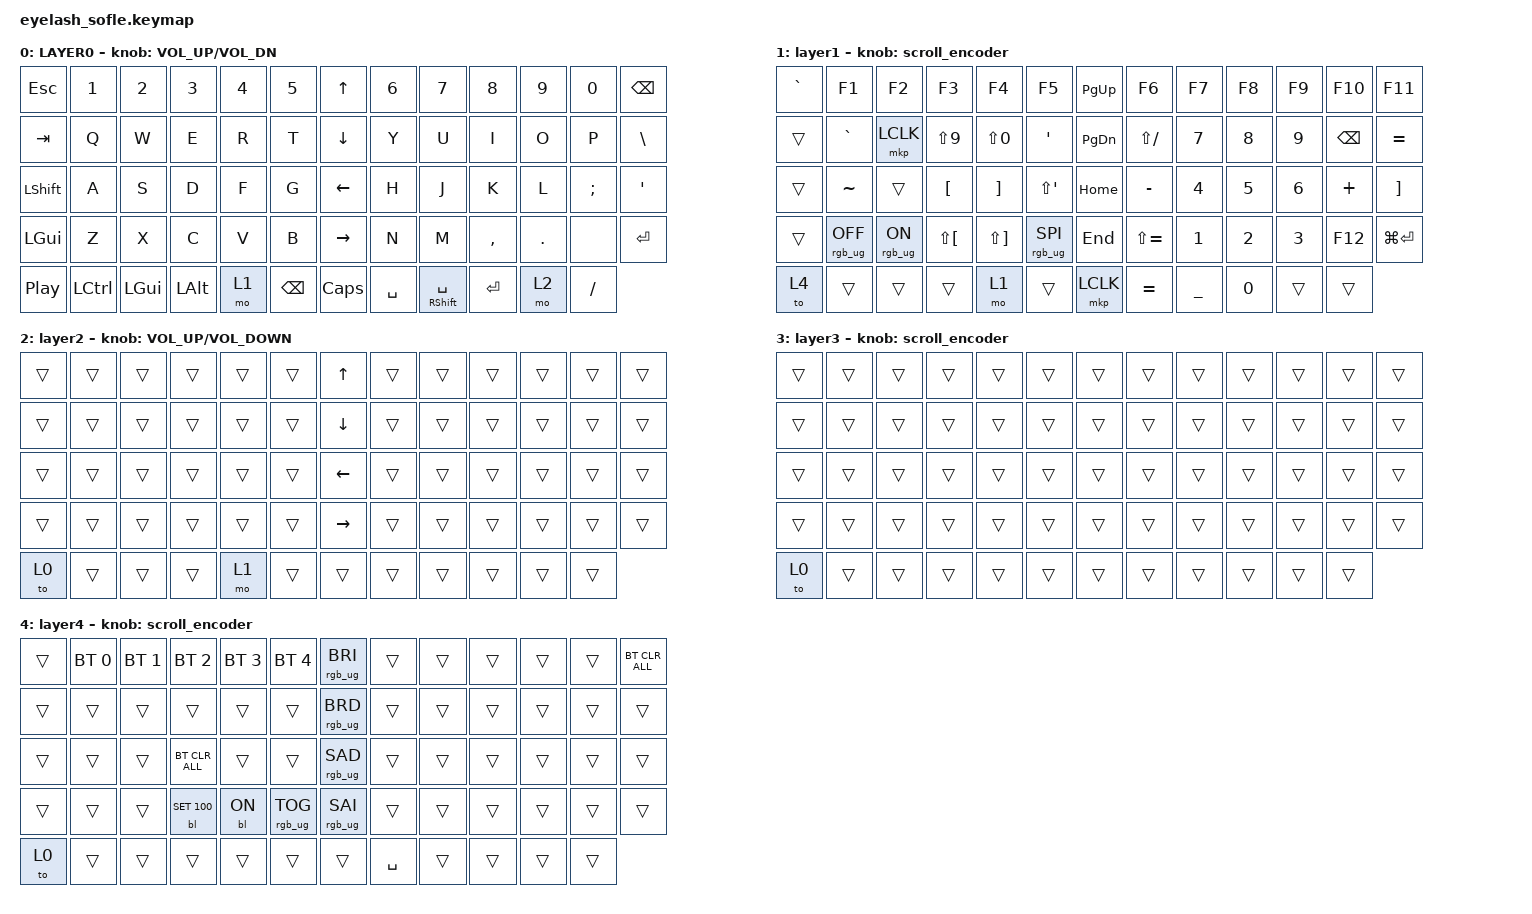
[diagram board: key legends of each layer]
#define ZMK_POINTING_DEFAULT_MOVE_VAL 1200  // 600
#define ZMK_POINTING_DEFAULT_SCRL_VAL 25   // 10

#include <input/processors.dtsi>
#include <zephyr/dt-bindings/input/input-event-codes.h>
#include <behaviors.dtsi>
#include <dt-bindings/zmk/backlight.h>
#include <dt-bindings/zmk/bt.h>
#include <dt-bindings/zmk/keys.h>
#include <dt-bindings/zmk/pointing.h>
#include <dt-bindings/zmk/rgb.h>

&mmv_input_listener { input-processors = <&zip_xy_scaler 2 1>; };

&msc_input_listener { input-processors = <&zip_scroll_scaler 2 1>; };

&msc {
    acceleration-exponent = <1>;      // 0
    time-to-max-speed-ms = <100>;       // 300
    delay-ms = <0>;                   // 0
};

&mmv {
    time-to-max-speed-ms = <500>;
    acceleration-exponent = <1>;
    trigger-period-ms = <16>;
};

&soft_off { hold-time-ms = <2000>; };

/ {
    scroll_encoder: scroll_encoder {
        compatible = "zmk,behavior-sensor-rotate";
        #sensor-binding-cells = <0>;
        bindings = <&msc SCRL_DOWN>, <&msc SCRL_UP>;

        tap-ms = <100>;
    };

    behaviors {
    };

    combos {
        compatible = "zmk,combos";

        softoff {
            bindings = <&to 4>;
            key-positions = <56 52>;
            layers = <0>;
        };

        force_sql {
            bindings = <&to 2>;
            key-positions = <62 50>;
            layers = <0>;
        };

        sql_select {
            bindings = <&SQL_SELECT_FROM>;
            key-positions = <28 16>;
            layers = <2>;
        };

        sql_over {
            bindings = <&SQL_OVER>;
            key-positions = <23 43>;
            layers = <2>;
        };

        sql_case_when {
            bindings = <&sql_case_when>;
            key-positions = <42 15>;
            layers = <2>;
        };

        sql_create {
            bindings = <&SQL_CREATE>;
            key-positions = <42 17>;
            layers = <2>;
        };

        sql_insert {
            bindings = <&SQL_INSERT>;
            key-positions = <22 46>;
            layers = <2>;
        };
    };

    macros {
        SQL_SELECT_FROM: SQL_SELECT_FROM {
            compatible = "zmk,behavior-macro";
            #binding-cells = <0>;
            bindings = <&kp LS(S) &kp LS(E) &kp LS(L) &kp LS(E) &kp LS(C) &kp LS(T) &kp SPACE &kp STAR &kp SPACE &kp RET &kp LS(F) &kp LS(R) &kp LS(O) &kp LS(M) &kp SPACE &kp T &kp A &kp B &kp L &kp E &kp RET &kp LS(W) &kp LS(H) &kp LS(E) &kp LS(R) &kp LS(E) &kp SPACE>;
            label = "SQL_SELECT_FROM";
        };

        rgb_pulse: rgb_pulse {
            compatible = "zmk,behavior-macro";
            #binding-cells = <0>;
            bindings =
                <&macro_wait_time 1000>,
                <&rgb_ug RGB_ON>,
                <&macro_wait_time 3000>,
                <&rgb_ug RGB_OFF>;

            label = "RGB_PULSE";
        };

        SQL_CREATE: SQL_CREATE {
            compatible = "zmk,behavior-macro";
            #binding-cells = <0>;
            bindings = <&kp LS(C) &kp LS(R) &kp LS(E) &kp LS(A) &kp LS(T) &kp LS(E) &kp SPACE &kp LS(T) &kp LS(A) &kp LS(B) &kp LS(L) &kp LS(E) &kp SPACE &kp LPAR &kp I &kp SPACE &kp LS(I) &kp LS(N) &kp LS(T) &kp RPAR &kp RET &kp LS(U) &kp LS(S) &kp LS(I) &kp LS(N) &kp LS(G) &kp SPACE &kp LS(D) &kp LS(E) &kp LS(L) &kp LS(T) &kp LS(A)>;
            label = "SQL_CREATE";
        };

        SQL_INSERT: SQL_INSERT {
            compatible = "zmk,behavior-macro";
            #binding-cells = <0>;
            bindings = <&kp LS(I) &kp LS(N) &kp LS(S) &kp LS(E) &kp LS(R) &kp LS(T) &kp SPACE &kp LS(I) &kp LS(N) &kp LS(T) &kp LS(O) &kp SPACE &kp T &kp SPACE &kp LPAR &kp C &kp RPAR &kp RET &kp LS(V) &kp LS(A) &kp LS(L) &kp LS(U) &kp LS(E) &kp LS(S) &kp SPACE &kp LPAR &kp SQT &kp V &kp SQT &kp RPAR>;
            label = "SQL_INSERT";
        };

        SQL_OVER: SQL_OVER {
            compatible = "zmk,behavior-macro";
            #binding-cells = <0>;
            bindings = <&kp LS(O) &kp LS(V) &kp LS(E) &kp LS(R) &kp SPACE &kp LPAR &kp LS(P) &kp LS(A) &kp LS(R) &kp LS(T) &kp LS(I) &kp LS(T) &kp LS(I) &kp LS(O) &kp LS(N) &kp SPACE &kp LS(B) &kp LS(Y) &kp SPACE &kp LS(O) &kp LS(R) &kp LS(D) &kp LS(E) &kp LS(R) &kp SPACE &kp LS(B) &kp LS(Y) &kp SPACE &kp RPAR>;
            label = "SQL_OVER";
        };

        sql_case_when: sql_case_when {
            compatible = "zmk,behavior-macro";
            #binding-cells = <0>;
            bindings = <&kp LS(C) &kp LS(A) &kp LS(S) &kp LS(E) &kp SPACE &kp RET &kp SPACE &kp LS(W) &kp LS(H) &kp LS(E) &kp LS(N) &kp SPACE &kp C &kp SPACE &kp LS(T) &kp LS(H) &kp LS(E) &kp LS(N) &kp SPACE &kp A &kp SPACE &kp RET &kp LS(E) &kp L &kp S &kp E &kp SPACE &kp B &kp SPACE &kp LS(E) &kp LS(N) &kp LS(D)>;
            label = "SQL_CASE_WHEN";
        };
    };

    on-startup {
        compatible = "zmk,on-startup";
        label = "ZMK_ON_STARTUP";
        bindings = <&rgb_pulse>;
    };

    on-wake {
        compatible = "zmk,on-wake";
        label = "ZMK_ON_WAKE";
        bindings = <&rgb_pulse>;
    };

    keymap {
        compatible = "zmk,keymap";

        BASE {
            bindings = <
&kp ESC           &kp N1     &kp N2        &kp N3        &kp N4  &kp N5           &kp UP_ARROW     &kp N6     &kp N7                 &kp N8     &kp N9   &kp N0     &kp BACKSPACE
&kp TAB           &kp Q      &kp W         &kp E         &kp R   &kp T            &kp DOWN_ARROW   &kp Y      &kp U                  &kp I      &kp O    &kp P      &kp BSLH
&kp LEFT_SHIFT    &kp A      &kp S         &kp D         &kp F   &kp G            &kp LEFT_ARROW   &kp H      &kp J                  &kp K      &kp L    &kp SEMI   &kp APOS
&kp LEFT_GUI      &kp Z      &kp X         &kp C         &kp V   &kp B            &kp RIGHT_ARROW  &kp N      &kp M                  &kp COMMA  &kp DOT  &none      &kp ENTER
&kp C_PLAY_PAUSE  &kp LCTRL  &kp LEFT_GUI  &kp LEFT_ALT  &mo 1   &kp BACKSPACE    &kp CLCK         &kp SPACE  &mt RIGHT_SHIFT SPACE  &kp ENTER  &mo 2    &kp SLASH
            >;

            sensor-bindings = <&inc_dec_kp C_VOLUME_UP C_VOL_DN>;
            display-name = "LAYER0";
        };

        KEYPAD {
            bindings = <
&kp GRAVE  &kp F1           &kp F2          &kp F3                &kp F4                 &kp F5                  &kp PG_UP      &kp F6         &kp F7          &kp F8        &kp F9        &kp F10        &kp F11
&trans     &kp GRAVE        &mkp LCLK       &kp LS(N9)            &kp LS(N0)             &kp SINGLE_QUOTE        &kp PAGE_DOWN  &kp LS(SLASH)  &kp N7          &kp N8        &kp N9        &kp BACKSPACE  &kp EQUAL
&trans     &kp TILDE        &trans          &kp LEFT_BRACKET      &kp RIGHT_BRACKET      &kp LS(SINGLE_QUOTE)    &kp HOME       &kp MINUS      &kp NUMBER_4    &kp N5        &kp NUMBER_6  &kp PLUS       &kp RIGHT_BRACKET
&trans     &rgb_ug RGB_OFF  &rgb_ug RGB_ON  &kp LS(LEFT_BRACKET)  &kp LS(RIGHT_BRACKET)  &rgb_ug RGB_SPI         &kp END        &kp LS(EQUAL)  &kp NUMBER_1    &kp NUMBER_2  &kp NUMBER_3  &kp F12        &kp LG(ENTER)
&to 4      &trans           &trans          &trans                &mo 1                  &trans                  &mkp LCLK      &kp EQUAL      &kp UNDERSCORE  &kp N0        &trans        &trans
            >;

            display-name = "layer1";
            sensor-bindings = <&scroll_encoder>;
        };

        SQL {
            bindings = <
&trans  &trans  &trans  &trans  &trans  &trans    &kp UP_ARROW    &trans  &trans  &trans  &trans  &trans  &trans
&trans  &trans  &trans  &trans  &trans  &trans    &kp DOWN_ARROW  &trans  &trans  &trans  &trans  &trans  &trans
&trans  &trans  &trans  &trans  &trans  &trans    &kp LEFT        &trans  &trans  &trans  &trans  &trans  &trans
&trans  &trans  &trans  &trans  &trans  &trans    &kp RIGHT       &trans  &trans  &trans  &trans  &trans  &trans
&to 0   &trans  &trans  &trans  &mo 1   &trans    &trans          &trans  &trans  &trans  &trans  &trans
            >;

            display-name = "layer2";
            sensor-bindings = <&inc_dec_kp C_VOLUME_UP C_VOLUME_DOWN>;
        };

        PYSPARK {
            bindings = <
&trans  &trans  &trans  &trans  &trans  &trans    &trans  &trans  &trans  &trans  &trans  &trans  &trans
&trans  &trans  &trans  &trans  &trans  &trans    &trans  &trans  &trans  &trans  &trans  &trans  &trans
&trans  &trans  &trans  &trans  &trans  &trans    &trans  &trans  &trans  &trans  &trans  &trans  &trans
&trans  &trans  &trans  &trans  &trans  &trans    &trans  &trans  &trans  &trans  &trans  &trans  &trans
&to 0   &trans  &trans  &trans  &trans  &trans    &trans  &trans  &trans  &trans  &trans  &trans
            >;

            display-name = "layer3";
            sensor-bindings = <&scroll_encoder>;
        };

        SETTINGS {
            bindings = <
&trans  &bt BT_SEL 0  &bt BT_SEL 1  &bt BT_SEL 2    &bt BT_SEL 3  &bt BT_SEL 4       &rgb_ug RGB_BRI  &trans     &trans  &trans  &trans  &trans  &bt BT_CLR_ALL
&trans  &trans        &trans        &trans          &trans        &trans             &rgb_ug RGB_BRD  &trans     &trans  &trans  &trans  &trans  &trans
&trans  &trans        &trans        &bt BT_CLR_ALL  &trans        &trans             &rgb_ug RGB_SAD  &trans     &trans  &trans  &trans  &trans  &trans
&trans  &trans        &trans        &bl BL_SET 100  &bl BL_ON     &rgb_ug RGB_TOG    &rgb_ug RGB_SAI  &trans     &trans  &trans  &trans  &trans  &trans
&to 0   &trans        &trans        &trans          &trans        &trans             &trans           &kp SPACE  &trans  &trans  &trans  &trans
            >;

            display-name = "layer4";
            sensor-bindings = <&scroll_encoder>;
        };
    };
};
